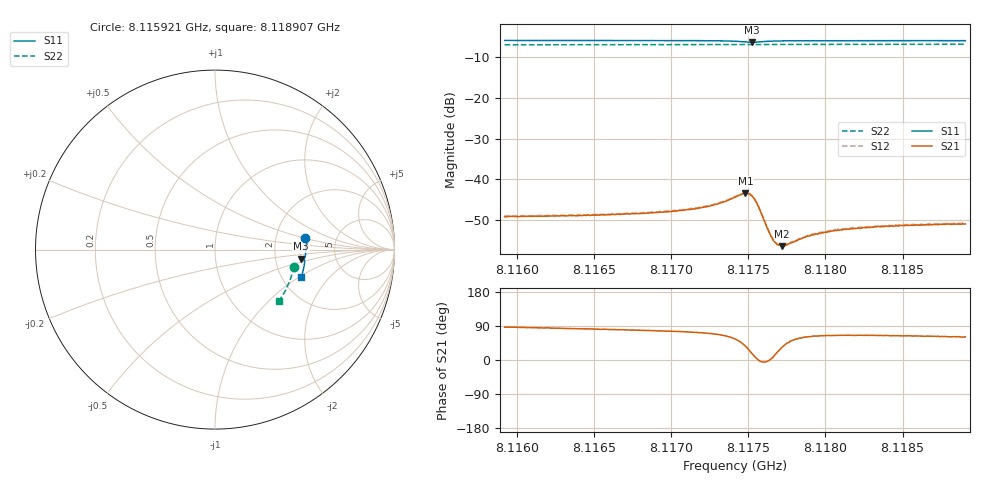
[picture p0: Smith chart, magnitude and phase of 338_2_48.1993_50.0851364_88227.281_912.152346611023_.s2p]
#  HZ  S  RI  R  50.00
! Rohde & Schwarz Vector Network Analyzer
! Rohde-Schwarz,ZNB20-2Port,1311601062101988,3.16
! Created: UTC 3/20/2024, 11:51:10 AM
! freq[Hz]  re:S11  im:S11  re:S21  im:S21  re:S12  im:S12  re:S22  im:S22
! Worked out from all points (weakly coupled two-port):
!   401 points, 8.115921 GHz to 8.118907 GHz, reference 50 ohm
!   highest |S21| = -43.42 dB at 8.117481 GHz (marker M1); lowest = -56.4 dB at 8.11772 GHz (marker M2)
!   lowest |S11| = -6.3 dB at 8.117526 GHz (marker M3), VSWR 2.86, Z = 140 - j18.4 ohm
!   |S11| at or under -10 dB: nowhere
!   |S22| runs from -7.0 to -6.8 dB; largest |S21 - S12| = 0.00019
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8.115921e9  0.5034 0.064  0.000214 0.00348  0.000244 0.00353  0.4379 -0.0957
8.1164212e9  0.5061 0.0265  0.000476 0.00355  0.000519 0.00363  0.4306 -0.1297
8.1169214e9  0.5056 -0.0119  0.000913 0.00383  0.000926 0.0039  0.4205 -0.163
8.1171006e9  0.5045 -0.0265  0.00117 0.00408  0.0012 0.00416  0.4162 -0.1748
8.1172424e9  0.5022 -0.0386  0.00158 0.00437  0.00169 0.00448  0.4126 -0.1841
8.117347e9  0.4989 -0.0487  0.00232 0.0048  0.00244 0.00491  0.4096 -0.191
8.1174142e9  0.4935 -0.0553  0.00342 0.00497  0.00357 0.00503  0.4076 -0.1952
8.1174813e9  0.4836 -0.0571  0.0054 0.00405  0.00555 0.00404  0.4053 -0.1994
8.1175037e9  0.4802 -0.0546  0.00594 0.003  0.00607 0.003  0.4046 -0.2007
8.1175261e9  0.4791 -0.0503  0.00595 0.00169  0.00609 0.00171  0.4039 -0.2017
8.1175411e9  0.48 -0.0474  0.0056 0.000901  0.00572 0.000855  0.4039 -0.2025
8.1175635e9  0.4833 -0.0447  0.00474 6.95e-05  0.00483 -2.6e-05  0.4033 -0.2036
8.1176307e9  0.4937 -0.0472  0.00233 -8.43e-05  0.00238 -9.87e-05  0.4018 -0.208
8.1176605e9  0.496 -0.0507  0.00178 0.000213  0.00184 0.000243  0.401 -0.2101
8.1176904e9  0.4975 -0.0541  0.00146 0.000589  0.0015 0.000555  0.4002 -0.2119
8.1177202e9  0.4984 -0.0574  0.00126 0.000842  0.00128 0.000865  0.3993 -0.2139
8.1177501e9  0.4989 -0.0606  0.00111 0.0011  0.00117 0.00112  0.3985 -0.2158
8.1178397e9  0.499 -0.0694  0.000991 0.00157  0.00101 0.0016  0.3957 -0.2214
8.1179144e9  0.4986 -0.0757  0.000953 0.00184  0.00102 0.00187  0.3933 -0.2262
8.1180711e9  0.4968 -0.0886  0.00099 0.00214  0.00105 0.00217  0.388 -0.236
8.1184146e9  0.4915 -0.1148  0.00117 0.00241  0.0012 0.00246  0.3757 -0.2567
8.1189073e9  0.4814 -0.1505  0.00136 0.00248  0.0014 0.00256  0.3564 -0.2854
